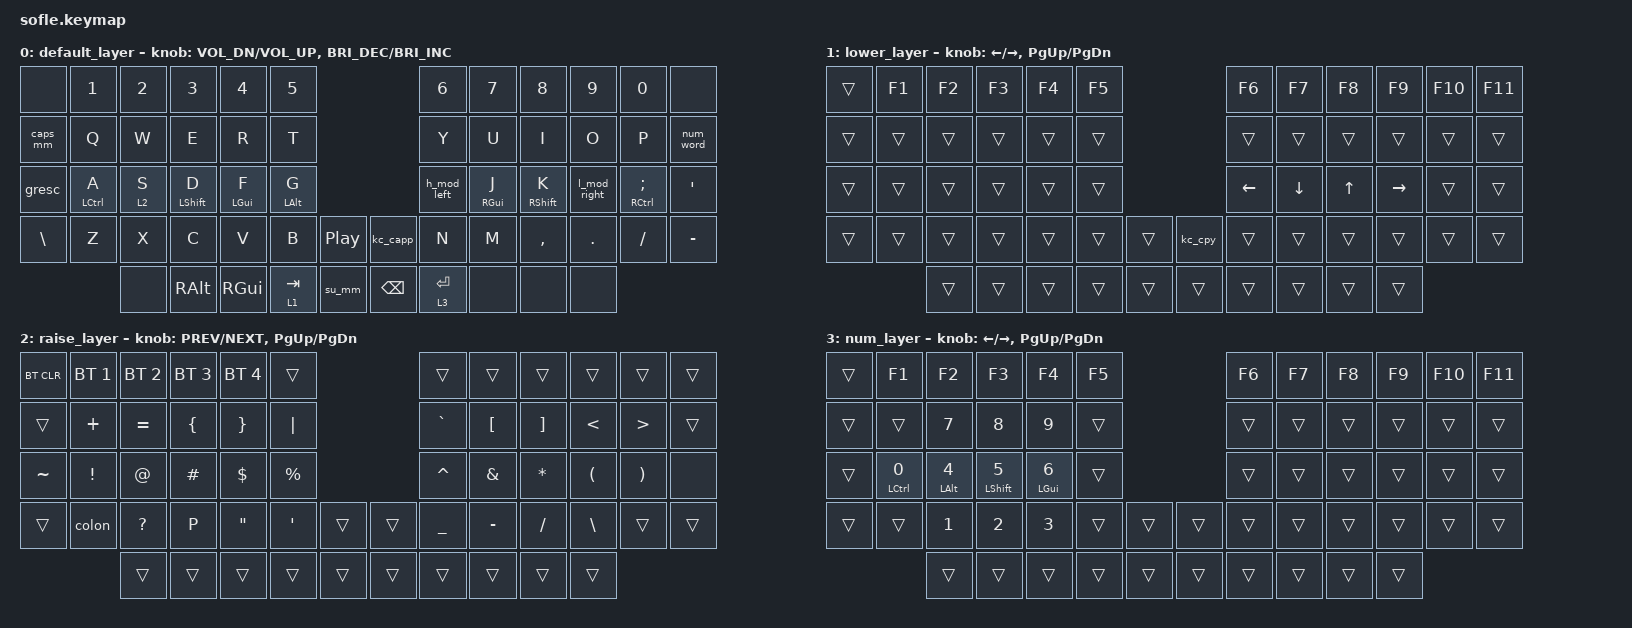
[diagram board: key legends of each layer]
/*
 * Copyright (c) 2020 The ZMK Contributors
 *
 * SPDX-License-Identifier: MIT
 */

#include <behaviors.dtsi>
#include <dt-bindings/zmk/keys.h>
#include <dt-bindings/zmk/bt.h>
#include <behaviors.dtsi>

#define KEYS_L < \
     0  1  2  3  4  5 \
    12 13 14 15 16 17 \
    24 25 26 27 28 29 \
    36 37 38 39 40 41 \
       50 51 52 53 54 \
>

#define KEYS_R < \
     6  7  8  9 10 11 \
    18 19 20 21 22 23 \
    30 31 32 33 34 35 \
    44 45 46 47 48 49 \
    55 56 57 58 59 \
>


&caps_word {
    continue-list = <BACKSPACE UNDERSCORE MINUS LSHIFT>;
};

&num_word {
    layers = <3>;
};

/ {
    macros {
        kc_capp: kc_capp {
            label = "kc_capp";
            compatible = "zmk,behavior-macro";
            #binding-cells = <0>;
            bindings
                = <&macro_press &kp LGUI &kp LSHIFT>
                , <&macro_tap &kp N4>
                , <&macro_release &kp LGUI &kp LSHIFT>
                ;
        };
        kc_cpy: kc_cpy {
            label = "kc_cpy";
            compatible = "zmk,behavior-macro";
            #binding-cells = <0>;
            bindings
                = <&macro_press &kp LGUI &kp LSHIFT &kp LCTRL>
                , <&macro_tap &kp N4>
                , <&macro_release &kp LGUI &kp LSHIFT &kp LCTRL>
                ;
        };
        colon: colon {
            label = "colon";
            compatible = "zmk,behavior-macro";
            #binding-cells = <0>;
            wait-ms = <2>;
            tap-ms = <1>;
            bindings
                = <&macro_press &kp LSHIFT>
                , <&macro_tap &kp P>
                , <&macro_release &kp LSHIFT>
                ;
        };
    };
    behaviors {
        rhm: r_homerow_mods {
            compatible = "zmk,behavior-hold-tap";
            label = "R_HOMEROW_MODS";
            #binding-cells = <2>;
            flavor = "balanced";
            tapping-term-ms = <280>;
            quick-tap-ms = <200>;
            global-quick-tap-ms = <150>;
            bindings = <&kp>, <&kp>;
            hold-trigger-key-positions = KEYS_L;
            hold-trigger-on-release;
        };
        rhms: r_homerow_mod_shift {
            compatible = "zmk,behavior-hold-tap";
            label = "R_HOMEROW_MOD_SHIFT";
            #binding-cells = <2>;
            flavor = "balanced";
            tapping-term-ms = <200>;
            quick-tap-ms = <200>;
            bindings = <&kp>, <&kp>;
            hold-trigger-key-positions = KEYS_L;
            hold-trigger-on-release;
        };
        rhl: r_homerow_layer_tap {
            compatible = "zmk,behavior-hold-tap";
            label = "R_HOMEROW_LAYER_TAP";
            #binding-cells = <2>;
            flavor = "balanced";
            tapping-term-ms = <280>;
            quick-tap-ms = <200>;
            global-quick-tap-ms = <150>;
            bindings = <&mo>, <&kp>;
            hold-trigger-key-positions = KEYS_L;
            hold-trigger-on-release;
        };
        lhm: l_homerow_mods {
            compatible = "zmk,behavior-hold-tap";
            label = "L_HOMEROW_MODS";
            #binding-cells = <2>;
            flavor = "balanced";
            tapping-term-ms = <280>;
            quick-tap-ms = <200>;
            global-quick-tap-ms = <150>;
            bindings = <&kp>, <&kp>;
            hold-trigger-key-positions = KEYS_R;
            hold-trigger-on-release;
        };
        lhms: l_homerow_mod_shift {
            compatible = "zmk,behavior-hold-tap";
            label = "L_HOMEROW_MOD_SHIFT";
            #binding-cells = <2>;
            flavor = "balanced";
            tapping-term-ms = <200>;
            quick-tap-ms = <200>;
            bindings = <&kp>, <&kp>;
            hold-trigger-key-positions = KEYS_R;
            hold-trigger-on-release;
        };
        lhl: l_homerow_layer_tap {
            compatible = "zmk,behavior-hold-tap";
            label = "L_HOMEROW_LAYER_TAP";
            #binding-cells = <2>;
            flavor = "balanced";
            tapping-term-ms = <280>;
            quick-tap-ms = <200>;
            global-quick-tap-ms = <150>;
            bindings = <&mo>, <&kp>;
            hold-trigger-key-positions = KEYS_R;
            hold-trigger-on-release;
        };
        h_mod_left: h_mod_left {
            compatible = "zmk,behavior-mod-morph";
            label = "ALT_LEFT";
            #binding-cells = <0>;
            bindings = <&rhm RALT H>, <&kp LEFT>;
            mods = <(MOD_LALT|MOD_LGUI)>;
            keep-mods = <(MOD_LALT|MOD_LGUI)>;
        };
        l_mod_right: l_mod_right {
            compatible = "zmk,behavior-mod-morph";
            label = "ALT_RIGHT";
            #binding-cells = <0>;
            bindings = <&rhl 2 L>, <&kp RIGHT>;
            mods = <(MOD_LALT|MOD_LGUI)>;
            keep-mods = <(MOD_LALT|MOD_LGUI)>;
        };
        caps_mm: caps_mm {
            compatible = "zmk,behavior-mod-morph";
            label = "CAPS_MOD_MORPH";
            #binding-cells = <0>;
            bindings = <&caps_word>, <&kp CAPS>;
            mods = <(MOD_LSFT|MOD_RSFT)>;
        };
        su_mm: su_mm {
            compatible = "zmk,behavior-mod-morph";
            label = "SPACE_UNDERSCORE_MOD_MORPH";
            #binding-cells = <0>;
            bindings = <&kp SPACE>, <&kp UNDERSCORE>;
            mods = <(MOD_LSFT|MOD_RSFT)>;
        };
    };
    keymap {
        compatible = "zmk,keymap";

        default_layer {
// --------------------------------------------------------------------------------------------------------------
// |       |  1  |  2  |  3    |  4    |  5     |                   |  6     |  7  |  8  |  9   |   0   |       |
// |  CAPS |  Q  |  W  |  E    |  R    |  T     |                   |  Y     |  U  |  I  |  O   |   P   |  NUM  |
// |  ESC  |  A  |  S  |  D    |  F    |  G     |                   |  H     |  J  |  K  |  L   |   ;   |   '   |
// |   \   |  Z  |  X  |  C    |  V    |  B     |  PP    |  | PSCRN |  N     |  M  |  ,  |  .   |   /   |   -   |
//               |     |  ALT  |  GUI  |  TAB   |  SPACE |  | BSPC  |  RET   |     |     |      |
            bindings = <
&none         &kp N1         &kp N2      &kp N3            &kp N4         &kp N5                                       &kp N6         &kp N7        &kp N8            &kp N9          &kp N0             &none
&caps_mm      &kp Q          &kp W       &kp E             &kp R          &kp T                                        &kp Y          &kp U         &kp I             &kp O           &kp P              &num_word
&gresc        &lhm LCTRL A   &lhl 2 S    &lhms LSHIFT D    &lhm LGUI F    &lhm LALT G                                  &h_mod_left    &rhm RGUI J   &rhms RSHIFT K    &l_mod_right    &rhm RCTRL SEMI    &kp SQT
&kp BSLH      &kp Z          &kp X       &kp C             &kp V          &kp B        &kp C_PLAY_PAUSE    &kc_capp    &kp N          &kp M         &kp COMMA         &kp DOT         &kp FSLH           &kp MINUS
                             &none       &kp RALT          &kp RGUI       &lt 1 TAB    &su_mm              &kp BSPC    &lt 3 RET      &none         &none             &none
            >;

            sensor-bindings = <&inc_dec_kp C_VOL_DN C_VOL_UP &inc_dec_kp C_BRIGHTNESS_DEC C_BRIGHTNESS_INC>;
        };

        lower_layer {
// --------------------------------------------------------------------------------------------------------
// |    |  F1 |  F2 |  F3  |  F4  |  F5  |                   |  F6  |  F7   |  F8   |  F9  |  F10  |  F11  |
// |    |     |     |      |      |      |                   |      |       |       |      |       |  F12  |
// |    |     |     |      |      |      |                   |   <- |   v   |   ^   |  ->  |       |       |
// |    |     |     |      |      |      |        |  | PSCRN |      |       |       |      |       |       |
//            |     |      |      |      |        |  |       |      |       |       |      |
            bindings = <
&trans    &kp F1    &kp F2    &kp F3    &kp F4    &kp F5                         &kp F6      &kp F7      &kp F8      &kp F9       &kp F10    &kp F11
&trans    &trans    &trans    &trans    &trans    &trans                         &trans      &trans      &trans      &trans       &trans     &trans
&trans    &trans    &trans    &trans    &trans    &trans                         &kp LEFT    &kp DOWN    &kp UP      &kp RIGHT    &trans     &trans
&trans    &trans    &trans    &trans    &trans    &trans    &trans    &kc_cpy    &trans      &trans      &trans      &trans       &trans     &trans
                    &trans    &trans    &trans    &trans    &trans    &trans     &trans      &trans      &trans      &trans
            >;

            sensor-bindings = <&inc_dec_kp LEFT RIGHT &inc_dec_kp PG_UP PG_DN>;
        };

        raise_layer {
// ------------------------------------------------------------------------------------------------------------
// | BT_CLR | BT1 | BT2 |  BT3 | BT4  |      |                   |      |       |       |      |       |       |
// |        |  +  |  =  |  {   |  }   |  |   |                   |  `   |  [    |  ]    |  <   |   >   |   '   |
// |   ~    |  !  |  @  |  #   |  $   |  %   |                   |  ^   |  &    |  *    |  (   |   )   |       |
// |   \    |  :  |  ?  |  ;   |  "   |  '   |        |  |       |  _   |  -    |  /    |  \   |   /   |   -   |
//                |     |      |      |      |        |  |       |      |       |       |      |
            bindings = <
&bt BT_CLR     &bt BT_SEL 1     &bt BT_SEL 2    &bt BT_SEL 3     &bt BT_SEL 4    &trans                           &trans       &trans       &trans       &trans       &trans       &trans
&trans         &kp PLUS         &kp EQUAL       &kp LBRC         &kp RBRC        &kp PIPE                         &kp GRAVE    &kp LBKT     &kp RBKT     &kp LT       &kp GT       &trans
&kp TILDE      &kp EXCL         &kp AT          &kp HASH         &kp DLLR        &kp PRCNT                        &kp CARET    &kp AMPS     &kp ASTRK    &kp LPAR     &kp RPAR     &none
&trans         &colon           &kp QMARK       &kp P            &kp DQT         &kp SQT      &trans    &trans    &kp UNDER    &kp MINUS    &kp FSLH     &kp BSLH     &trans       &trans
                                &trans          &trans           &trans          &trans       &trans    &trans    &trans       &trans       &trans       &trans
            >;
     
            sensor-bindings = <&inc_dec_kp C_PREV C_NEXT &inc_dec_kp PG_UP PG_DN>;
        };
        num_layer {
// --------------------------------------------------------------------------------------------------------
// |    |  F1 |  F2 |  F3  |  F4  |  F5  |                   |  F6  |  F7   |  F8   |  F9  |  F10  |  F11  |
// |    |     |   7 |   8  |   9  |      |                   |      |       |       |      |       |       |
// |    |   0 |   4 |   5  |   6  |      |                   |      |       |       |      |       |       |
// |    |     |   1 |   2  |   3  |      |        |  |       |      |       |       |      |       |       |
//            |     |      |      |      |        |  |       |      |       |       |      |
            bindings = <
&trans    &kp F1           &kp F2          &kp F3             &kp F4          &kp F5                         &kp F6      &kp F7      &kp F8      &kp F9       &kp F10     &kp F11
&trans    &trans           &kp N7          &kp N8             &kp N9          &trans                         &trans      &trans      &trans      &trans       &trans      &trans
&trans    &lhm LCTRL N0    &lhm LALT N4    &lhms LSHIFT N5    &lhm LGUI N6    &trans                         &trans      &trans      &trans      &trans       &trans      &trans
&trans    &trans           &kp N1          &kp N2             &kp N3          &trans    &trans    &trans     &trans      &trans      &trans      &trans       &trans      &trans
                           &trans          &trans             &trans          &trans    &trans    &trans     &trans      &trans      &trans      &trans
            >;
            sensor-bindings = <&inc_dec_kp LEFT RIGHT &inc_dec_kp PG_UP PG_DN>;
        };
    };
};
